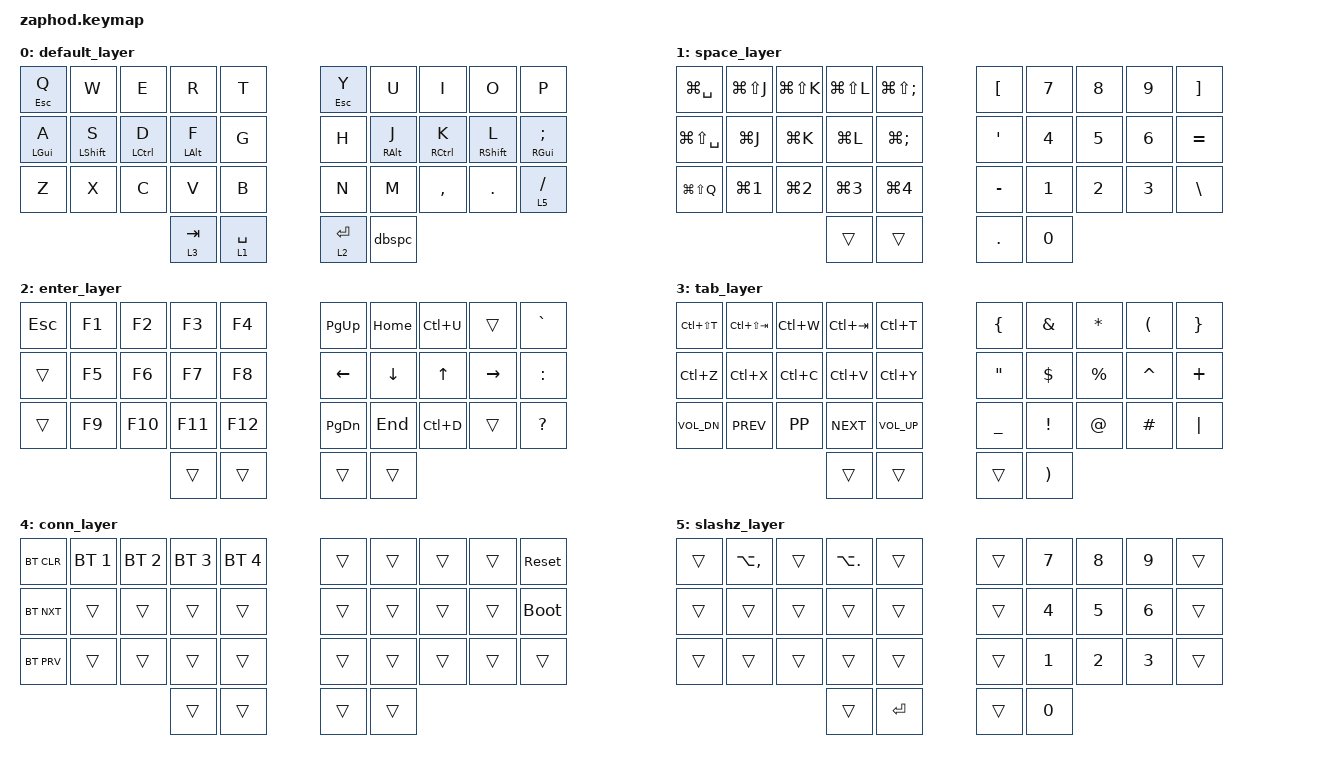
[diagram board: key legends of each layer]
/*
 * Copyright (c) 2020 The ZMK Contributors
 *
 * SPDX-License-Identifier: MIT
 */

#include <behaviors.dtsi>
#include <dt-bindings/zmk/keys.h>
#include <dt-bindings/zmk/bt.h>
#include <dt-bindings/zmk/outputs.h>

&lt {
  tapping-term-ms = <175>;
};

/ {
    behaviors {
        hm: homerow_mods {
          compatible = "zmk,behavior-hold-tap";
          label = "HOMEROW_MODS";
          #binding-cells = <2>;
          tapping-term-ms = <210>;
          flavor = "balanced";
          bindings = <&kp>, <&kp>;
        };
        mk: modified_key {
          compatible = "zmk,behavior-hold-tap";
          label = "HOMEROW_MODS";
          #binding-cells = <2>;
          tapping-term-ms = <220>;
          flavor = "tap-preferred";
          bindings = <&kp>, <&kp>;
        };
        dbspc: del_backspace {
          compatible = "zmk,behavior-mod-morph";
          label = "DEL_BACKSPACE";
          #binding-cells = <0>;
          bindings = <&kp BSPC>, <&kp DEL>;
          mods = <(MOD_LSFT|MOD_RSFT)>;
        };
    };
    combos {
        compatible = "zmk,combos";
        colon {
            timeout-ms = <60>;
            key-positions = <11 19>;
            bindings = <&kp COLON>;
        };
        colon2 {
            timeout-ms = <60>;
            key-positions = <18 19>;
            bindings = <&kp COLON>;
        };
        double_quote {
            timeout-ms = <60>;
            key-positions = <11 15>;
            bindings = <&kp DQT>;
        };
        double_quote2 {
            timeout-ms = <60>;
            key-positions = <18 15>;
            bindings = <&kp DQT>;
        };
        tilda {
            timeout-ms = <80>;
            key-positions = <18 9>;
            bindings = <&kp TILDE>;
        };
        pipe {
            timeout-ms = <80>;
            key-positions = <18 29>;
            bindings = <&kp PIPE>;
        };
    };
    macros {
        term_quit_colon: term_quit_colon {
            compatible = "zmk,behavior-macro";
            #binding-cells = <0>;
            bindings
                = <&macro_tap &kp ESC>
                , <&macro_tap &kp COLON>
                ;
        };
    };
    conditional_layers {
        compatible = "zmk,conditional-layers";
        quad_layer {
            if-layers = <2 3>;
            then-layer = <4>;
        };
    };
    keymap {
        compatible = "zmk,keymap";
        default_layer {
            bindings = <
            &mk ESC Q   &kp W        &kp E        &kp R       &kp T          &mk ESC Y    &kp U       &kp I          &kp O         &kp P
            &hm LGUI A  &hm LSHFT S  &hm LCTRL D  &hm LALT F  &kp G          &kp H        &hm RALT J  &hm RCTRL K    &hm RSHFT L   &hm RGUI SEMI
            &kp Z       &kp X        &kp C        &kp V       &kp B          &kp N        &kp M       &kp COMMA      &kp DOT       &lt 5 FSLH
                                                  &lt 3 TAB   &lt 1 SPC      &lt 2 RET    &dbspc
            >;
        };
        space_layer {
            bindings = <
            &kp LG(SPC)       &kp LG(LS(J))    &kp LG(LS(K))   &kp LG(LS(L))   &kp LG(LS(SEMI))     &kp LBKT    &kp N7  &kp N8   &kp N9   &kp RBKT
            &kp LG(LS(SPC))   &kp LG(J)        &kp LG(K)       &kp LG(L)       &kp LG(SEMI)         &kp SQT     &kp N4	&kp N5   &kp N6   &kp EQUAL
            &kp LG(LS(Q))     &kp LG(N1)       &kp LG(N2)      &kp LG(N3)      &kp LG(N4)           &kp MINUS   &kp N1  &kp N2   &kp N3   &kp BSLH
                                                               &trans          &trans               &kp DOT     &kp N0
            >;
        };
        enter_layer {
            bindings = <
            &kp ESC  &kp F1		&kp F2   &kp F3 	&kp F4     &kp PG_UP   &kp HOME 	&kp LC(U)   &trans 		&kp GRAVE
            &trans   &kp F5		&kp F6   &kp F7 	&kp	F8     &kp LEFT    &kp DOWN 	&kp UP   &kp RIGHT 	  &kp COLON
            &trans   &kp F9		&kp F10  &kp F11 	&kp F12    &kp PG_DN   &kp END 	    &kp LC(D)   &trans 	  &kp QMARK
                                                    &trans     &trans      &trans       &trans
            >;
        };
        tab_layer {
            bindings = <
            &kp LC(LS(T))   &kp LC(LS(TAB))  &kp LC(W)  &kp LC(TAB)  &kp LC(T)     &kp LBRC  &kp AMPS  &kp ASTRK  &kp LPAR  &kp RBRC
            &kp LC(Z)       &kp LC(X)        &kp LC(C)  &kp LC(V)    &kp LC(Y)     &kp DQT   &kp DLLR  &kp PRCNT  &kp CARET &kp PLUS
            &kp K_VOL_DN    &kp K_PREV       &kp K_PP   &kp K_NEXT   &kp K_VOL_UP  &kp UNDER &kp EXCL  &kp AT     &kp HASH  &kp PIPE
                                                        &trans       &trans        &trans    &kp RPAR
            >;
        };
        conn_layer {
            bindings = <
            &bt BT_CLR &bt BT_SEL 1    &bt BT_SEL 2   &bt BT_SEL 3   &bt BT_SEL 4     &trans    &trans    &trans    &trans    &sys_reset
            &bt BT_NXT &trans          &trans         &trans         &trans    		  &trans    &trans    &trans    &trans    &bootloader
            &bt BT_PRV &trans          &trans         &trans         &trans           &trans    &trans    &trans    &trans    &trans
                                       &trans         &trans         &trans     &trans
            >;
        };
        slashz_layer {
            bindings = <
            &trans       &kp LA(COMMA)    &trans   &kp LA(DOT)  &trans      &trans  &kp N7  &kp N8   &kp N9   &trans
            &trans       &trans           &trans   &trans       &trans      &trans  &kp N4	&kp N5   &kp N6   &trans
            &trans       &trans           &trans   &trans       &trans      &trans  &kp N1  &kp N2   &kp N3   &trans
                                                   &trans       &kp RET     &trans  &kp N0
            >;
        };
    };
};
